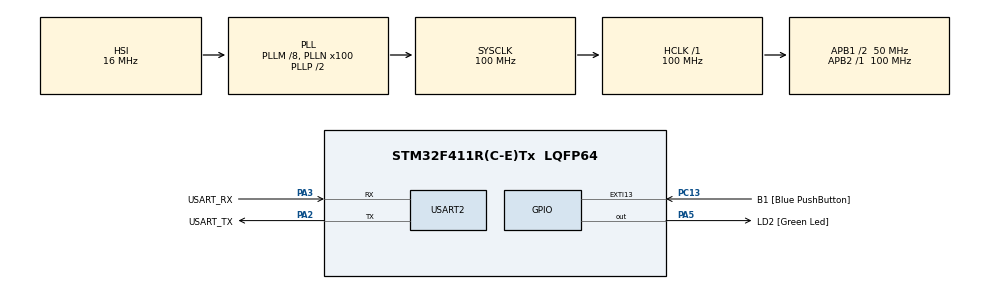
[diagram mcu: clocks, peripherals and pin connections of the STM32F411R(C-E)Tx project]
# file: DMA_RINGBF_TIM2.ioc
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Dma.Request0=USART2_TX
Dma.Request1=USART2_RX
Dma.USART2_RX.1.Direction=DMA_PERIPH_TO_MEMORY
Dma.USART2_RX.1.FIFOMode=DMA_FIFOMODE_DISABLE
Dma.USART2_RX.1.Instance=DMA1_Stream5
Dma.USART2_RX.1.MemDataAlignment=DMA_MDATAALIGN_BYTE
Dma.USART2_RX.1.MemInc=DMA_MINC_ENABLE
Dma.USART2_RX.1.Mode=DMA_NORMAL
Dma.USART2_RX.1.PeriphDataAlignment=DMA_PDATAALIGN_BYTE
Dma.USART2_RX.1.PeriphInc=DMA_PINC_DISABLE
Dma.USART2_RX.1.Priority=DMA_PRIORITY_LOW
Dma.USART2_TX.0.Direction=DMA_MEMORY_TO_PERIPH
Dma.USART2_TX.0.FIFOMode=DMA_FIFOMODE_DISABLE
Dma.USART2_TX.0.Instance=DMA1_Stream6
Dma.USART2_TX.0.MemDataAlignment=DMA_MDATAALIGN_BYTE
Dma.USART2_TX.0.MemInc=DMA_MINC_ENABLE
Dma.USART2_TX.0.Mode=DMA_NORMAL
Dma.USART2_TX.0.PeriphDataAlignment=DMA_PDATAALIGN_BYTE
Dma.USART2_TX.0.PeriphInc=DMA_PINC_DISABLE
Dma.USART2_TX.0.Priority=DMA_PRIORITY_LOW
Mcu.Family=STM32F4
Mcu.Name=STM32F411R(C-E)Tx
Mcu.Package=LQFP64
NVIC.DMA1_Stream5_IRQn=true\:0\:0\:false\:false\:true\:false\:true\:true
NVIC.DMA1_Stream6_IRQn=true\:0\:0\:false\:false\:true\:false\:true\:true
NVIC.PriorityGroup=NVIC_PRIORITYGROUP_0
NVIC.TIM2_IRQn=true\:0\:0\:false\:false\:true\:true\:true\:true
NVIC.USART2_IRQn=true\:0\:0\:false\:false\:true\:true\:true\:true
PA13.GPIO_Label=TMS
PA13.Mode=Serial_Wire
PA13.Signal=SYS_JTMS-SWDIO
PA14.GPIO_Label=TCK
PA14.Mode=Serial_Wire
PA14.Signal=SYS_JTCK-SWCLK
PA2.GPIO_Label=USART_TX
PA2.Mode=Asynchronous
PA2.Signal=USART2_TX
PA3.GPIO_Label=USART_RX
PA3.Mode=Asynchronous
PA3.Signal=USART2_RX
PA5.GPIO_Label=LD2 [Green Led]
PA5.Signal=GPIO_Output
PB3.GPIO_Label=SWO
PB3.Signal=SYS_JTDO-SWO
PC13-ANTI_TAMP.GPIO_Label=B1 [Blue PushButton]
PC13-ANTI_TAMP.GPIO_ModeDefaultEXTI=GPIO_MODE_IT_FALLING
PC13-ANTI_TAMP.Signal=GPXTI13
PC14-OSC32_IN.Mode=LSE-External-Oscillator
PC14-OSC32_IN.Signal=RCC_OSC32_IN
PC15-OSC32_OUT.Mode=LSE-External-Oscillator
PC15-OSC32_OUT.Signal=RCC_OSC32_OUT
PH0\ -\ OSC_IN.Mode=HSE-External-Clock-Source
PH0\ -\ OSC_IN.Signal=RCC_OSC_IN
PH1\ -\ OSC_OUT.Mode=HSE-External-Clock-Source
PH1\ -\ OSC_OUT.Signal=RCC_OSC_OUT
ProjectManager.HeapSize=0x200
ProjectManager.StackSize=0x400
ProjectManager.TargetToolchain=STM32CubeIDE
RCC.48MHZClocksFreq_Value=50000000
RCC.AHBFreq_Value=100000000
RCC.APB1CLKDivider=RCC_HCLK_DIV2
RCC.APB1Freq_Value=50000000
RCC.APB1TimFreq_Value=100000000
RCC.APB2Freq_Value=100000000
RCC.APB2TimFreq_Value=100000000
RCC.CortexFreq_Value=100000000
RCC.FLatency-AdvancedSettings=FLASH_LATENCY_3
RCC.HCLKFreq_Value=100000000
RCC.HSE_VALUE=8000000
RCC.HSI_VALUE=16000000
RCC.PLLM=8
RCC.PLLN=100
RCC.SYSCLKFreq_VALUE=100000000
RCC.SYSCLKSource=RCC_SYSCLKSOURCE_PLLCLK
RCC.VCOOutputFreq_Value=200000000
TIM2.Period=9
TIM2.Prescaler=9999
USART2.VirtualMode=VM_ASYNC
VP_TIM2_VS_ClockSourceINT.Mode=Internal
board=NUCLEO-F411RE

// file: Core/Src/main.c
/* USER CODE BEGIN Header */
/**
  ******************************************************************************
  * @file           : main.c
  * @brief          : Main program body
  ******************************************************************************
  * @attention
  *
  * Copyright (c) 2026 STMicroelectronics.
  * All rights reserved.
  *
  * This software is licensed under terms that can be found in the LICENSE file
  * in the root directory of this software component.
  * If no LICENSE file comes with this software, it is provided AS-IS.
  *
  ******************************************************************************
  */
/* USER CODE END Header */
#include "main.h"
#include "dma.h"
#include "tim.h"
#include "usart.h"
#include "gpio.h"

/* USER CODE BEGIN Includes */
#include "ringbuffer.h"
#include <string.h>
/* USER CODE END Includes */

/* USER CODE BEGIN PV */
RingBuffer uart_rb;
uint8_t rx_buf[64];
/* USER CODE END PV */

void SystemClock_Config(void);

/* USER CODE BEGIN 0 */
void data_rb_out();
void combine_command(uint8_t out_data);
void command(char *buf);
/* USER CODE END 0 */

int main(void)
{

  /* MCU Configuration--------------------------------------------------------*/

  /* Reset of all peripherals, Initializes the Flash interface and the Systick. */
  HAL_Init();

  /* Configure the system clock */
  SystemClock_Config();

  /* Initialize all configured peripherals */
  MX_GPIO_Init();
  MX_DMA_Init();
  MX_TIM2_Init();
  MX_USART2_UART_Init();
  /* USER CODE BEGIN 2 */
RB_Init(&uart_rb);
HAL_UARTEx_ReceiveToIdle_DMA(&huart2, rx_buf, sizeof(rx_buf));
__HAL_DMA_DISABLE_IT(huart2.hdmarx, DMA_IT_HT);
  /* USER CODE END 2 */

  /* Infinite loop */
  while (1)
  {

    /* USER CODE BEGIN 3 */
	  data_rb_out();
  }
  /* USER CODE END 3 */
}

void SystemClock_Config(void)
{
  RCC_OscInitTypeDef RCC_OscInitStruct = {0};
  RCC_ClkInitTypeDef RCC_ClkInitStruct = {0};

  /** Configure the main internal regulator output voltage
  */
  __HAL_RCC_PWR_CLK_ENABLE();
  __HAL_PWR_VOLTAGESCALING_CONFIG(PWR_REGULATOR_VOLTAGE_SCALE1);

  /** Initializes the RCC Oscillators according to the specified parameters
  * in the RCC_OscInitTypeDef structure.
  */
  RCC_OscInitStruct.OscillatorType = RCC_OSCILLATORTYPE_HSI;
  RCC_OscInitStruct.HSIState = RCC_HSI_ON;
  RCC_OscInitStruct.HSICalibrationValue = RCC_HSICALIBRATION_DEFAULT;
  RCC_OscInitStruct.PLL.PLLState = RCC_PLL_ON;
  RCC_OscInitStruct.PLL.PLLSource = RCC_PLLSOURCE_HSI;
  RCC_OscInitStruct.PLL.PLLM = 8;
  RCC_OscInitStruct.PLL.PLLN = 100;
  RCC_OscInitStruct.PLL.PLLP = RCC_PLLP_DIV2;
  RCC_OscInitStruct.PLL.PLLQ = 4;
  if (HAL_RCC_OscConfig(&RCC_OscInitStruct) != HAL_OK)
  {
    Error_Handler();
  }

  /** Initializes the CPU, AHB and APB buses clocks
  */
  RCC_ClkInitStruct.ClockType = RCC_CLOCKTYPE_HCLK|RCC_CLOCKTYPE_SYSCLK
                              |RCC_CLOCKTYPE_PCLK1|RCC_CLOCKTYPE_PCLK2;
  RCC_ClkInitStruct.SYSCLKSource = RCC_SYSCLKSOURCE_PLLCLK;
  RCC_ClkInitStruct.AHBCLKDivider = RCC_SYSCLK_DIV1;
  RCC_ClkInitStruct.APB1CLKDivider = RCC_HCLK_DIV2;
  RCC_ClkInitStruct.APB2CLKDivider = RCC_HCLK_DIV1;

  if (HAL_RCC_ClockConfig(&RCC_ClkInitStruct, FLASH_LATENCY_3) != HAL_OK)
  {
    Error_Handler();
  }
}

/* USER CODE BEGIN 4 */
void HAL_UARTEx_RxEventCallback(UART_HandleTypeDef *huart, uint16_t size)
{
	if(huart->Instance == USART2)
	{
		for(uint16_t i=0; i<size; i++)
		{
			RB_Push(&uart_rb, rx_buf[i]);
		}
		HAL_UARTEx_ReceiveToIdle_DMA(&huart2, rx_buf, sizeof(rx_buf));
		__HAL_DMA_DISABLE_IT(huart2.hdmarx, DMA_IT_HT);

	}
}
void data_rb_out(void)
{
	uint8_t out_data;
	while(RB_Pop(&uart_rb, &out_data))
	{
		combine_command(out_data);
	}
}
void combine_command(uint8_t out_data)
{
	static uint8_t buf[64];
	static uint8_t idx=0;
	if(out_data == '\n')
	{
		buf[idx] = '\0';
		if(idx >0 && buf[idx-1] == '\r')
		{
			buf[idx-1]='\0';
		}
		command((char*)buf);
		idx =0;
	}
	else
	{
		if(idx < sizeof(buf)-1)
		{
			buf[idx++]= out_data;
		}
	}
}
void command(char *buf)
{
	if(strcmp(buf,"bat")==0)
	{
		HAL_GPIO_WritePin(GPIOA, GPIO_PIN_5, GPIO_PIN_SET);
		static const char msgon[] = "led on roi\r\n";
		HAL_UART_Transmit_DMA(&huart2, (uint8_t*)msgon, strlen(msgon));
	}
	else if(strcmp(buf, "tat")==0)
	{
		HAL_GPIO_WritePin(GPIOA,GPIO_PIN_5,GPIO_PIN_RESET);
		static const char msg_off[] = "led off roi\r\n";
		HAL_UART_Transmit_DMA(&huart2, (uint8_t*)msg_off, strlen(msg_off));
	}
	else
	{
		    static const char msg[] = "bam cai del gi vay\r\n";
			HAL_UART_Transmit_DMA(&huart2, (uint8_t *)msg, strlen(msg));
	}

}
/* USER CODE END 4 */

void Error_Handler(void)
{
  __disable_irq();
  while (1)
  {
  }
}
